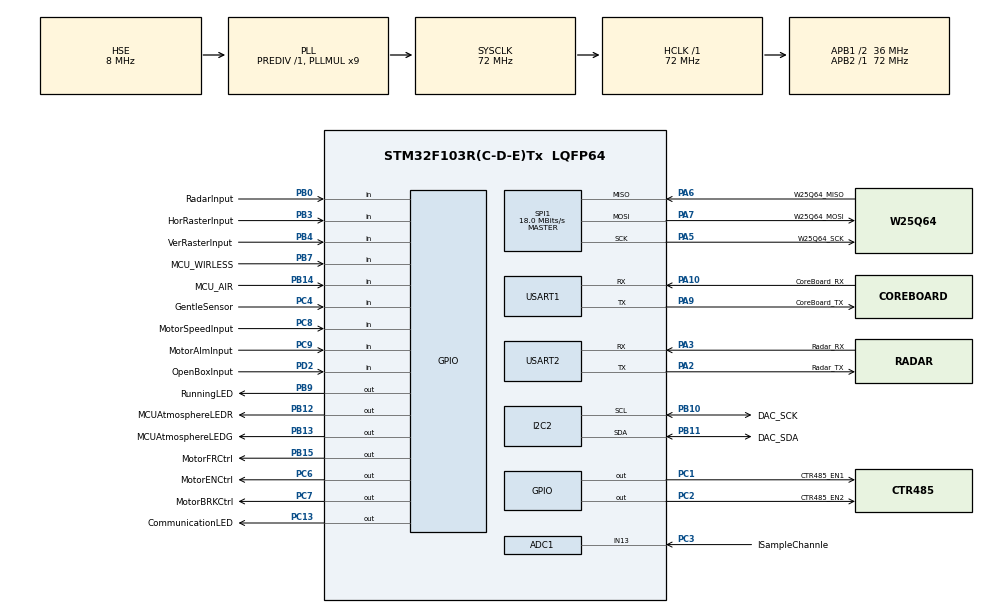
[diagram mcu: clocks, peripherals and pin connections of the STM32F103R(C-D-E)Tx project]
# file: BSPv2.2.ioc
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ADC1.Channel-0\#ChannelRegularConversion=ADC_CHANNEL_13
ADC1.Channel-1\#ChannelRegularConversion=ADC_CHANNEL_13
ADC1.ContinuousConvMode=ENABLE
ADC1.DataAlign=ADC_DATAALIGN_RIGHT
ADC1.DiscontinuousConvMode=DISABLE
ADC1.EnableAnalogWatchDog=false
ADC1.EnableRegularConversion=ENABLE
ADC1.ExternalTrigConv=ADC_SOFTWARE_START
ADC1.InjNumberOfConversion=0
ADC1.NbrOfConversion=2
ADC1.NbrOfConversionFlag=1
ADC1.Rank-0\#ChannelRegularConversion=1
ADC1.Rank-1\#ChannelRegularConversion=2
ADC1.SamplingTime-0\#ChannelRegularConversion=ADC_SAMPLETIME_239CYCLES_5
ADC1.SamplingTime-1\#ChannelRegularConversion=ADC_SAMPLETIME_239CYCLES_5
ADC1.ScanConvMode=ADC_SCAN_ENABLE
ADC1.master=1
Dma.ADC1.2.Direction=DMA_PERIPH_TO_MEMORY
Dma.ADC1.2.Instance=DMA1_Channel1
Dma.ADC1.2.MemDataAlignment=DMA_MDATAALIGN_WORD
Dma.ADC1.2.MemInc=DMA_MINC_ENABLE
Dma.ADC1.2.Mode=DMA_CIRCULAR
Dma.ADC1.2.PeriphDataAlignment=DMA_PDATAALIGN_WORD
Dma.ADC1.2.PeriphInc=DMA_PINC_DISABLE
Dma.ADC1.2.Priority=DMA_PRIORITY_LOW
Dma.Request0=USART1_RX
Dma.Request1=USART2_RX
Dma.Request2=ADC1
Dma.USART1_RX.0.Direction=DMA_PERIPH_TO_MEMORY
Dma.USART1_RX.0.Instance=DMA1_Channel5
Dma.USART1_RX.0.MemDataAlignment=DMA_MDATAALIGN_BYTE
Dma.USART1_RX.0.MemInc=DMA_MINC_ENABLE
Dma.USART1_RX.0.Mode=DMA_NORMAL
Dma.USART1_RX.0.PeriphDataAlignment=DMA_PDATAALIGN_BYTE
Dma.USART1_RX.0.PeriphInc=DMA_PINC_DISABLE
Dma.USART1_RX.0.Priority=DMA_PRIORITY_LOW
Dma.USART2_RX.1.Direction=DMA_PERIPH_TO_MEMORY
Dma.USART2_RX.1.Instance=DMA1_Channel6
Dma.USART2_RX.1.MemDataAlignment=DMA_MDATAALIGN_BYTE
Dma.USART2_RX.1.MemInc=DMA_MINC_ENABLE
Dma.USART2_RX.1.Mode=DMA_NORMAL
Dma.USART2_RX.1.PeriphDataAlignment=DMA_PDATAALIGN_BYTE
Dma.USART2_RX.1.PeriphInc=DMA_PINC_DISABLE
Dma.USART2_RX.1.Priority=DMA_PRIORITY_LOW
Mcu.Family=STM32F1
Mcu.Name=STM32F103R(C-D-E)Tx
Mcu.Package=LQFP64
NVIC.ADC1_2_IRQn=true\:0\:0\:false\:true\:true\:1\:true
NVIC.DMA1_Channel1_IRQn=true\:0\:0\:false\:true\:true\:7\:false
NVIC.DMA1_Channel5_IRQn=true\:0\:0\:false\:true\:true\:8\:false
NVIC.DMA1_Channel6_IRQn=true\:0\:0\:false\:true\:true\:9\:false
NVIC.I2C2_ER_IRQn=true\:0\:0\:false\:true\:true\:11\:true
NVIC.I2C2_EV_IRQn=true\:0\:0\:false\:true\:true\:10\:true
NVIC.PriorityGroup=NVIC_PRIORITYGROUP_4
NVIC.TIM3_IRQn=true\:0\:0\:false\:true\:true\:3\:true
NVIC.TIM4_IRQn=true\:0\:0\:false\:true\:true\:4\:true
NVIC.TIM5_IRQn=true\:0\:0\:false\:true\:true\:5\:true
NVIC.TIM6_IRQn=true\:0\:0\:false\:true\:true\:6\:true
NVIC.USART1_IRQn=true\:0\:0\:false\:true\:true\:2\:true
NVIC.USART2_IRQn=true\:0\:0\:false\:true\:true\:12\:true
PA10.GPIO_Label=CoreBoard_RX
PA10.Mode=Asynchronous
PA10.Signal=USART1_RX
PA13.Mode=Serial_Wire
PA13.Signal=SYS_JTMS-SWDIO
PA14.Mode=Serial_Wire
PA14.Signal=SYS_JTCK-SWCLK
PA2.GPIO_Label=Radar_TX
PA2.Mode=Asynchronous
PA2.Signal=USART2_TX
PA3.GPIO_Label=Radar_RX
PA3.Mode=Asynchronous
PA3.Signal=USART2_RX
PA5.GPIO_Label=W25Q64_SCK
PA5.Mode=Full_Duplex_Master
PA5.Signal=SPI1_SCK
PA6.GPIO_Label=W25Q64_MISO
PA6.Mode=Full_Duplex_Master
PA6.Signal=SPI1_MISO
PA7.GPIO_Label=W25Q64_MOSI
PA7.Mode=Full_Duplex_Master
PA7.Signal=SPI1_MOSI
PA9.GPIO_Label=CoreBoard_TX
PA9.Mode=Asynchronous
PA9.Signal=USART1_TX
PB0.GPIO_Label=RadarInput
PB0.GPIO_PuPd=GPIO_PULLUP
PB0.Signal=GPIO_Input
PB10.GPIO_Label=DAC_SCK
PB10.Mode=I2C
PB10.Signal=I2C2_SCL
PB11.GPIO_Label=DAC_SDA
PB11.Mode=I2C
PB11.Signal=I2C2_SDA
PB12.GPIO_Label=MCUAtmosphereLEDR
PB12.Signal=GPIO_Output
PB13.GPIO_Label=MCUAtmosphereLEDG
PB13.Signal=GPIO_Output
PB14.GPIO_Label=MCU_AIR
PB14.GPIO_PuPd=GPIO_PULLUP
PB14.Signal=GPIO_Input
PB15.GPIO_Label=MotorFRCtrl
PB15.Signal=GPIO_Output
PB3.GPIO_Label=HorRasterInput
PB3.GPIO_PuPd=GPIO_PULLUP
PB3.Signal=GPIO_Input
PB4.GPIO_Label=VerRasterInput
PB4.GPIO_PuPd=GPIO_PULLUP
PB4.Signal=GPIO_Input
PB7.GPIO_Label=MCU_WIRLESS
PB7.GPIO_PuPd=GPIO_PULLUP
PB7.Signal=GPIO_Input
PB9.GPIO_Label=RunningLED
PB9.Signal=GPIO_Output
PC1.GPIO_Label=CTR485_EN1
PC1.Signal=GPIO_Output
PC13-TAMPER-RTC.GPIO_Label=CommunicationLED
PC13-TAMPER-RTC.Signal=GPIO_Output
PC2.GPIO_Label=CTR485_EN2
PC2.Signal=GPIO_Output
PC3.GPIO_Label=ISampleChannle
PC3.Signal=ADCx_IN13
PC4.GPIO_Label=GentleSensor
PC4.GPIO_PuPd=GPIO_PULLUP
PC4.Signal=GPIO_Input
PC6.GPIO_Label=MotorENCtrl
PC6.Signal=GPIO_Output
PC7.GPIO_Label=MotorBRKCtrl
PC7.Signal=GPIO_Output
PC8.GPIO_Label=MotorSpeedInput
PC8.GPIO_PuPd=GPIO_PULLUP
PC8.Signal=GPIO_Input
PC9.GPIO_Label=MotorAlmInput
PC9.GPIO_PuPd=GPIO_PULLUP
PC9.Signal=GPIO_Input
PD0-OSC_IN.Mode=HSE-External-Oscillator
PD0-OSC_IN.Signal=RCC_OSC_IN
PD1-OSC_OUT.Mode=HSE-External-Oscillator
PD1-OSC_OUT.Signal=RCC_OSC_OUT
PD2.GPIO_Label=OpenBoxInput
PD2.GPIO_PuPd=GPIO_PULLUP
PD2.Signal=GPIO_Input
ProjectManager.HeapSize=0x200
ProjectManager.StackSize=0x400
ProjectManager.TargetToolchain=EWARM
RCC.ADCPresc=RCC_ADCPCLK2_DIV6
RCC.AHBFreq_Value=72000000
RCC.APB1CLKDivider=RCC_HCLK_DIV2
RCC.APB1Freq_Value=36000000
RCC.APB1TimFreq_Value=72000000
RCC.APB2Freq_Value=72000000
RCC.APB2TimFreq_Value=72000000
RCC.HCLKFreq_Value=72000000
RCC.PLLMUL=RCC_PLL_MUL9
RCC.PLLSourceVirtual=RCC_PLLSOURCE_HSE
RCC.SYSCLKFreq_VALUE=72000000
RCC.SYSCLKSource=RCC_SYSCLKSOURCE_PLLCLK
RCC.USBFreq_Value=72000000
SH.ADCx_IN13.0=ADC1_IN13,IN13
SPI1.BaudRatePrescaler=SPI_BAUDRATEPRESCALER_4
SPI1.CalculateBaudRate=18.0 MBits/s
SPI1.DataSize=SPI_DATASIZE_16BIT
SPI1.Direction=SPI_DIRECTION_2LINES
SPI1.Mode=SPI_MODE_MASTER
SPI1.VirtualType=VM_MASTER
TIM3.Period=50-1
TIM3.Prescaler=72-1
TIM4.Period=1000-1
TIM4.Prescaler=72-1
TIM5.Period=200-1
TIM5.Prescaler=7200-1
TIM6.Period=1000-1
TIM6.Prescaler=720-1
USART1.VirtualMode=VM_ASYNC
USART2.VirtualMode=VM_ASYNC
VP_ADC1_TempSens_Input.Mode=IN-TempSens
VP_TIM3_VS_ClockSourceINT.Mode=Internal
VP_TIM4_VS_ClockSourceINT.Mode=Internal
VP_TIM5_VS_ClockSourceINT.Mode=Internal
VP_TIM6_VS_ClockSourceINT.Mode=Enable_Timer
board=BSPv2.2

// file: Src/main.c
/**
  ******************************************************************************
  * @file           : main.c
  * @brief          : Main program body
  ******************************************************************************
  ** This notice applies to any and all portions of this file
  * that are not between comment pairs USER CODE BEGIN and
  * USER CODE END. Other portions of this file, whether
  * inserted by the user or by software development tools
  * are owned by their respective copyright owners.
  *
  * COPYRIGHT(c) 2018 STMicroelectronics
  *
  * Redistribution and use in source and binary forms, with or without modification,
  * are permitted provided that the following conditions are met:
  *   1. Redistributions of source code must retain the above copyright notice,
  *      this list of conditions and the following disclaimer.
  *   2. Redistributions in binary form must reproduce the above copyright notice,
  *      this list of conditions and the following disclaimer in the documentation
  *      and/or other materials provided with the distribution.
  *   3. Neither the name of STMicroelectronics nor the names of its contributors
  *      may be used to endorse or promote products derived from this software
  *      without specific prior written permission.
  *
  * THIS SOFTWARE IS PROVIDED BY THE COPYRIGHT HOLDERS AND CONTRIBUTORS "AS IS"
  * AND ANY EXPRESS OR IMPLIED WARRANTIES, INCLUDING, BUT NOT LIMITED TO, THE
  * IMPLIED WARRANTIES OF MERCHANTABILITY AND FITNESS FOR A PARTICULAR PURPOSE ARE
  * DISCLAIMED. IN NO EVENT SHALL THE COPYRIGHT HOLDER OR CONTRIBUTORS BE LIABLE
  * FOR ANY DIRECT, INDIRECT, INCIDENTAL, SPECIAL, EXEMPLARY, OR CONSEQUENTIAL
  * DAMAGES (INCLUDING, BUT NOT LIMITED TO, PROCUREMENT OF SUBSTITUTE GOODS OR
  * SERVICES; LOSS OF USE, DATA, OR PROFITS; OR BUSINESS INTERRUPTION) HOWEVER
  * CAUSED AND ON ANY THEORY OF LIABILITY, WHETHER IN CONTRACT, STRICT LIABILITY,
  * OR TORT (INCLUDING NEGLIGENCE OR OTHERWISE) ARISING IN ANY WAY OUT OF THE USE
  * OF THIS SOFTWARE, EVEN IF ADVISED OF THE POSSIBILITY OF SUCH DAMAGE.
  *
  ******************************************************************************
  */
#include "main.h"
#include "stm32f1xx_hal.h"
#include "adc.h"
#include "dma.h"
#include "i2c.h"
#include "spi.h"
#include "tim.h"
#include "usart.h"
#include "gpio.h"

/* USER CODE BEGIN Includes */
#include "stdlib.h"
#include "stdio.h"
#include "bsp_common.h"
#include "bsp_DataTransmissionLayer.h"
#include "bsp_ProtocolLayer.h"
#include "bsp_digitalfloodcontrol.h"
#include "bsp_motor.h"
#include "bsp_log.h"
#include "bsp_wrieless.h"

#define REDLED_ON       HAL_GPIO_WritePin(MCUAtmosphereLEDR_GPIO_Port,MCUAtmosphereLEDR_Pin,MCUAtmosphereLEDR_ON)
#define REDLED_OFF		HAL_GPIO_WritePin(MCUAtmosphereLEDR_GPIO_Port,MCUAtmosphereLEDR_Pin,MCUAtmosphereLEDR_OFF)
#define REDLED_TOGGLE   HAL_GPIO_TogglePin(MCUAtmosphereLEDR_GPIO_Port,MCUAtmosphereLEDR_Pin)

#define GREENLED_ON		HAL_GPIO_WritePin(MCUAtmosphereLEDG_GPIO_Port,MCUAtmosphereLEDG_Pin,MCUAtmosphereLEDG_ON)
#define GREENLED_OFF	HAL_GPIO_WritePin(MCUAtmosphereLEDG_GPIO_Port,MCUAtmosphereLEDG_Pin,MCUAtmosphereLEDG_OFF)
#define GREENLED_TOGGLE	HAL_GPIO_TogglePin(MCUAtmosphereLEDG_GPIO_Port,MCUAtmosphereLEDG_Pin)

/* USER CODE END Includes */

/* USER CODE BEGIN PV */
/* Private variables ---------------------------------------------------------*/
extern volatile uint16_t       TiggerTimeCnt;
extern  uint16_t       TiggerTimeSum;

extern  uint16_t       Vnormalt;
extern  uint16_t       Vthreshold;
extern  uint16_t       Vbase;          //基础电流值
extern  uint16_t       Vdelta;

extern volatile uint16_t      VbaseBuffer[128];
extern uint16_t      Vnormal;
extern volatile uint16_t      VbaseCnt;
extern volatile uint8_t       VbaseUpdataflag;
extern volatile uint8_t       SettingVbaseValeFlag;
extern volatile uint8_t 	  gDigitalFoodFlag;

extern uint16_t SpeedDataBufferPtr;
extern uint8_t  SpeedDataBufferOne[300];

MOTORMACHINE gMotorMachine;

//volatile uint16_t ADCSampleBuffer[512];
uint32_t ADCBuffer[32];

volatile uint8_t  gLogTimerFlag;
volatile uint32_t gLogTimerCnt;

volatile uint8_t  gOpenBarTimeoutFlag;
volatile uint8_t  gOpenBarTimerFlag;
volatile uint32_t gOpenBarTimerCnt;

volatile uint8_t gOpenSpeedTimerFlag;
volatile uint8_t gOpenSpeedTimerCnt;

volatile uint8_t gBarFirstArriveOpenedPosinFlag;
volatile uint8_t gBarFirstArriveClosedPosionFlag;

volatile uint8_t gOpenFlag;
volatile uint8_t gObstructFlag;

volatile uint8_t gHorCloseFlag;

volatile uint8_t gCarEnteredFlag;
GPIOSTRUCT gGentleSensorGpio;
GPIOSTRUCT gAirSensorGpio;

GPIOSTRUCT gHorGpio;
GPIOSTRUCT gVerGpio;

GPIOSTRUCT gWirelessGpio;

uint8_t gLedTimerFlag;
uint8_t checkWrielessFlag;

static uint32_t Vadcdata;

/* USER CODE END PV */

void SystemClock_Config(void);
static void MX_NVIC_Init(void);

/* USER CODE BEGIN PFP */
/* Private function prototypes -----------------------------------------------*/
void bsp_GpioStructInit(void);
void bsp_SendCarEnterFlag(void);
void bsp_SendCarEnterTimeroutFlag(void);
void bsp_ADCCheck(void);
/* USER CODE END PFP */

int main(void)
{

  /* MCU Configuration----------------------------------------------------------*/

  /* Reset of all peripherals, Initializes the Flash interface and the Systick. */
  HAL_Init();

  /* Configure the system clock */
  SystemClock_Config();

  /* Initialize all configured peripherals */
  MX_GPIO_Init();
  MX_DMA_Init();
  MX_TIM4_Init();
  MX_USART1_UART_Init();
  MX_USART2_UART_Init();
  MX_I2C2_Init();
  MX_SPI1_Init();
  MX_ADC1_Init();
  MX_TIM5_Init();
  MX_TIM6_Init();
  MX_TIM3_Init();

  /* Initialize interrupts */
  MX_NVIC_Init();
  /* USER CODE BEGIN 2 */
  BSP_MotorInit();
  bsp_GpioStructInit();
  DigitalfloodInit();

  BSP_DriverBoardProtocolInit();
  //HAL_ADC_Start_DMA(&hadc1, (uint32_t*)&ADCBuffer, 256);
  //HAL_ADC_Stop_DMA(&hadc1);
  BSP_WirelessInit(3);
  HAL_TIM_Base_Start_IT(&htim3);
  HAL_TIM_Base_Start_IT(&htim5);

  /* USER CODE END 2 */

  /* Infinite loop */
  while (1)
  {

  /* USER CODE BEGIN 3 */
    /*bsp_ADCCheck();
    HAL_Delay(10);
    */

  BSP_HandingUartDataFromDriverBoard();
  BSP_HandingDriverBoardRequest();
  BSP_SendAckData();

  /* 氛围灯控制 */
  if(1 == gLedTimerFlag)
  {
	gLedTimerFlag = 0;
	if(0 == gOpenFlag)
	{
		REDLED_ON;
		GREENLED_OFF;
	}
	if(2 == gOpenFlag)
	{
		REDLED_OFF;
		GREENLED_TOGGLE;
	}
	if(3 == gOpenFlag)
	{
		REDLED_OFF;
		GREENLED_ON;
	}
	if(5 == gOpenFlag)
	{
		REDLED_TOGGLE;
		GREENLED_OFF;
	}
  }

  /* 发送日志信息 */
  if(1 == gLogTimerFlag)
  {
	gLogTimerFlag = 0;
    bsp_LogWriteUpdataFlag();
#ifdef __Debug__
    //BSP_SendDataToDriverBoard((uint8_t*)"\r\n Timelog \r\n",13,0xFFFF);
#endif
  }

  bsp_LogCheckUpdata();

  /* 检测车辆是否入场或者出场信息 */
  if(1 == gCarEnteredFlag)
  {
	if(3 == gOpenFlag)
	{
		gCarEnteredFlag = 0;
		gOpenBarTimeoutFlag = 0;
		gOpenBarTimerCnt = 0;
		gOpenBarTimerFlag = 0;
		gOpenFlag = 4;
		/* 发送车辆入场或者出场信息 */
		bsp_SendCarEnterFlag();
	}
  }

  if(1 == gBarFirstArriveOpenedPosinFlag)
  {
    gBarFirstArriveOpenedPosinFlag = 0;
	if(2 == gOpenFlag)
	{
		gOpenFlag = 3;
		VbaseCnt = 0;
		TiggerTimeCnt = 0;
	}
	SpeedDataBufferPtr = 0;
#ifdef __Debug__
	//BSP_SendDataToDriverBoard((uint8_t*)"\r\n gBarFirstArriveOpenedPosinFlag \r\n",35,0xFFFF);
#endif
  }

  if(1 == gBarFirstArriveClosedPosionFlag)
  {
	gBarFirstArriveClosedPosionFlag = 0;
	/* 清空遥控开闸标记位 */
	gWrielessModeFlag = 0;
	if(2 == gOpenBarTimeoutFlag)
	{
		gOpenBarTimeoutFlag = 0;
		/* 发送车辆入场或者出场超时信息 */
		bsp_SendCarEnterTimeroutFlag();
	}
	/* 更新Vbase的数据值 */
	UpdateVbaseValue();
	SpeedDataBufferPtr = 0;
#ifdef	__Debug__
	//BSP_SendDataToDriverBoard((uint8_t*)"\r\n gBarFirstArriveClosedPosionFlag\r\n",35, 0xFFFF);
#endif
  }

  if(1 == checkWrielessFlag)
  {
	BSP_WirelessCheck();

	checkWrielessFlag = 0;
  }

  if(1 == gWrielessModeFlag)
  {
	BSP_WirelessAction();
  }
  else
  {
  	BSP_MotorCheck();
  	BSP_MotorAction();

  	if(1 == gOpenSpeedTimerFlag && 2 == gOpenFlag)
  	{
      	gOpenSpeedTimerFlag = 0;

	  	/* 添加调速代码 */
	  	BSP_MotorSpeedSet(SpeedDataBufferOne[SpeedDataBufferPtr]);

#ifdef __Debug__
	  	BSP_SendByteToDriverBoard(SpeedDataBufferOne[SpeedDataBufferPtr],0xFFFF);
#endif

	  	SpeedDataBufferPtr++;
	  	if(SpeedDataBufferPtr > 299)
	 	 {
			SpeedDataBufferPtr = 299;
		  }
  	}
  }

  }
  /* USER CODE END 3 */

}

void SystemClock_Config(void)
{

  RCC_OscInitTypeDef RCC_OscInitStruct;
  RCC_ClkInitTypeDef RCC_ClkInitStruct;
  RCC_PeriphCLKInitTypeDef PeriphClkInit;

    /**Initializes the CPU, AHB and APB busses clocks
    */
  RCC_OscInitStruct.OscillatorType = RCC_OSCILLATORTYPE_HSE;
  RCC_OscInitStruct.HSEState = RCC_HSE_ON;
  RCC_OscInitStruct.HSEPredivValue = RCC_HSE_PREDIV_DIV1;
  RCC_OscInitStruct.HSIState = RCC_HSI_ON;
  RCC_OscInitStruct.PLL.PLLState = RCC_PLL_ON;
  RCC_OscInitStruct.PLL.PLLSource = RCC_PLLSOURCE_HSE;
  RCC_OscInitStruct.PLL.PLLMUL = RCC_PLL_MUL9;
  if (HAL_RCC_OscConfig(&RCC_OscInitStruct) != HAL_OK)
  {
    _Error_Handler(__FILE__, __LINE__);
  }

    /**Initializes the CPU, AHB and APB busses clocks
    */
  RCC_ClkInitStruct.ClockType = RCC_CLOCKTYPE_HCLK|RCC_CLOCKTYPE_SYSCLK
                              |RCC_CLOCKTYPE_PCLK1|RCC_CLOCKTYPE_PCLK2;
  RCC_ClkInitStruct.SYSCLKSource = RCC_SYSCLKSOURCE_PLLCLK;
  RCC_ClkInitStruct.AHBCLKDivider = RCC_SYSCLK_DIV1;
  RCC_ClkInitStruct.APB1CLKDivider = RCC_HCLK_DIV2;
  RCC_ClkInitStruct.APB2CLKDivider = RCC_HCLK_DIV1;

  if (HAL_RCC_ClockConfig(&RCC_ClkInitStruct, FLASH_LATENCY_2) != HAL_OK)
  {
    _Error_Handler(__FILE__, __LINE__);
  }

  PeriphClkInit.PeriphClockSelection = RCC_PERIPHCLK_ADC;
  PeriphClkInit.AdcClockSelection = RCC_ADCPCLK2_DIV6;
  if (HAL_RCCEx_PeriphCLKConfig(&PeriphClkInit) != HAL_OK)
  {
    _Error_Handler(__FILE__, __LINE__);
  }

    /**Configure the Systick interrupt time
    */
  HAL_SYSTICK_Config(HAL_RCC_GetHCLKFreq()/1000);

    /**Configure the Systick
    */
  HAL_SYSTICK_CLKSourceConfig(SYSTICK_CLKSOURCE_HCLK);

  /* SysTick_IRQn interrupt configuration */
  HAL_NVIC_SetPriority(SysTick_IRQn, 0, 0);
}

/**
  * @brief NVIC Configuration.
  * @retval None
  */
static void MX_NVIC_Init(void)
{
  /* ADC1_2_IRQn interrupt configuration */
  HAL_NVIC_SetPriority(ADC1_2_IRQn, 0, 0);
  HAL_NVIC_EnableIRQ(ADC1_2_IRQn);
  /* USART1_IRQn interrupt configuration */
  HAL_NVIC_SetPriority(USART1_IRQn, 0, 0);
  HAL_NVIC_EnableIRQ(USART1_IRQn);
  /* TIM3_IRQn interrupt configuration */
  HAL_NVIC_SetPriority(TIM3_IRQn, 0, 0);
  HAL_NVIC_EnableIRQ(TIM3_IRQn);
  /* TIM4_IRQn interrupt configuration */
  HAL_NVIC_SetPriority(TIM4_IRQn, 0, 0);
  HAL_NVIC_EnableIRQ(TIM4_IRQn);
  /* TIM5_IRQn interrupt configuration */
  HAL_NVIC_SetPriority(TIM5_IRQn, 0, 0);
  HAL_NVIC_EnableIRQ(TIM5_IRQn);
  /* TIM6_IRQn interrupt configuration */
  HAL_NVIC_SetPriority(TIM6_IRQn, 0, 0);
  HAL_NVIC_EnableIRQ(TIM6_IRQn);
  /* DMA1_Channel1_IRQn interrupt configuration */
  HAL_NVIC_SetPriority(DMA1_Channel1_IRQn, 0, 0);
  HAL_NVIC_EnableIRQ(DMA1_Channel1_IRQn);
  /* DMA1_Channel5_IRQn interrupt configuration */
  HAL_NVIC_SetPriority(DMA1_Channel5_IRQn, 0, 0);
  HAL_NVIC_EnableIRQ(DMA1_Channel5_IRQn);
  /* DMA1_Channel6_IRQn interrupt configuration */
  HAL_NVIC_SetPriority(DMA1_Channel6_IRQn, 0, 0);
  HAL_NVIC_EnableIRQ(DMA1_Channel6_IRQn);
  /* I2C2_EV_IRQn interrupt configuration */
  HAL_NVIC_SetPriority(I2C2_EV_IRQn, 0, 0);
  HAL_NVIC_EnableIRQ(I2C2_EV_IRQn);
  /* I2C2_ER_IRQn interrupt configuration */
  HAL_NVIC_SetPriority(I2C2_ER_IRQn, 0, 0);
  HAL_NVIC_EnableIRQ(I2C2_ER_IRQn);
  /* USART2_IRQn interrupt configuration */
  HAL_NVIC_SetPriority(USART2_IRQn, 0, 0);
  HAL_NVIC_EnableIRQ(USART2_IRQn);
}

/* USER CODE BEGIN 4 */
void HAL_TIM_PeriodElapsedCallback(TIM_HandleTypeDef * htim)
{
	UNUSED(htim);
        /* 常开的定时器中断，50us进入一次，对光栅状态进行检测 */
	if(htim3.Instance == htim->Instance)
	{
	  gHorGpio.CurrentReadVal = HAL_GPIO_ReadPin(HorRasterInput_GPIO_Port,HorRasterInput_Pin);
	  if(0 == gHorGpio.CurrentReadVal && 0 == gHorGpio.LastReadVal)
	  {
		gHorGpio.FilterCnt++;
		if(gHorGpio.FilterCnt > gHorGpio.FilterCntSum)
		{
		  gMotorMachine.HorizontalRasterState = 1;
		  gHorGpio.GpioState = 1;
		  gHorGpio.FilterCnt = 0;
		  if(DOWNDIR == gMotorMachine.RunDir)
		  {
			HAL_TIM_Base_Stop_IT(&htim6);//停止定时器中断
            HAL_ADC_Stop_DMA(&hadc1);
			BSP_MotorStop(); //停止电机转动
            HAL_TIM_Base_Stop_IT(&htim4);
			gOpenFlag = 0;
			gMotorMachine.RunDir = UPDIR;//修改方向标记位
			gMotorMachine.RunningState = 0;//修改运行状态
			gBarFirstArriveClosedPosionFlag = 1;//
            gLogInfo.uLogInfo.GateWay = 0;

            if(0 == gWrielessModeFlag)
            {
			if(SettingVbaseValeFlag)
			{
			  gHorCloseFlag++;
			  if(gHorCloseFlag > 2)
			  {
				gHorCloseFlag = 0;
				SettingVbaseValeFlag = 0;
			  }
			}
            }
		  }
		}
	  }
	  else
	  {
		gMotorMachine.HorizontalRasterState = 0;
		gHorGpio.GpioState = 0;
		gHorGpio.FilterCnt = 0;
	  }

	  gHorGpio.LastReadVal = gHorGpio.CurrentReadVal;

      gVerGpio.CurrentReadVal = HAL_GPIO_ReadPin(VerRasterInput_GPIO_Port,VerRasterInput_Pin);
	  if(0 == gVerGpio.CurrentReadVal && 0 == gVerGpio.LastReadVal)
	  {
		gVerGpio.FilterCnt++;
		if(gVerGpio.FilterCnt > gVerGpio.FilterCntSum)
		{
		  gVerGpio.GpioState = 1;
		  gVerGpio.FilterCnt = 0;
		  gMotorMachine.VerticalRasterState = 1;
		  if(UPDIR == gMotorMachine.RunDir)
		  {
			BSP_MotorStop();
            gWrielessActionFlag = 0;
			gMotorMachine.RunDir = DOWNDIR;//修改方向标记位
			gMotorMachine.RunningState = 0;//改变运行状态标记位
			gOpenBarTimerFlag = 1;
			gBarFirstArriveOpenedPosinFlag = 1;
		  }
          if(0 == gWrielessModeFlag)
          {
		  if(1 == gMotorMachine.StartFlag)	//如果初始位置在垂直位置，此可以进行自动复位
		  {
			BSP_MotorStop();
            gMotorMachine.StartFlag = 0;
			gOpenBarTimerFlag = 1;
			gOpenFlag = 3;	//表示处在垂直位置
			VbaseCnt = 0;   //归零计数
			TiggerTimeCnt = 0;//
		  }
          if(1 == gOpenBarTimeoutFlag)
          {
            gOpenFlag = 4;
            gOpenBarTimeoutFlag = 2;
          }
          }
		}
	  }
	  else
	  {
		gMotorMachine.VerticalRasterState = 0;
		gVerGpio.GpioState = 0;
		gVerGpio.FilterCnt = 0;
	  }
	  gVerGpio.LastReadVal = gVerGpio.CurrentReadVal;
	  return;
	}

   	/* 非常开的定时器中断，该中断在接收到开闸指令后才打开，用来检测地感和
	压力波传感器信号，在检测到杆到达水平位置之后就直接关闭该中断，该中断每1ms
	进入一次，开闸的调速也将在改中断中完成*/
	if(htim4.Instance == htim->Instance)
	{
	  /* 调速 */
	  gOpenSpeedTimerCnt ++;
	  if(gOpenSpeedTimerCnt > 4)    //5ms进入一次调速中断
	  {
		gOpenSpeedTimerFlag = 1;
		gOpenSpeedTimerCnt = 0;
	  }
		/* 地感检测，起到防砸和判断车辆是否进入的作用 */
	  gGentleSensorGpio.CurrentReadVal = HAL_GPIO_ReadPin(GentleSensor_GPIO_Port,GentleSensor_Pin);
	  if(0 == gGentleSensorGpio.CurrentReadVal && 0 == gGentleSensorGpio.LastReadVal)
	  {
		if(0 == gGentleSensorGpio.GpioState)
		{
		  gGentleSensorGpio.FilterCnt++;
		  if(gGentleSensorGpio.FilterCnt > gGentleSensorGpio.FilterCntSum)
		  {
			gGentleSensorGpio.GpioState = 1;
			gGentleSensorGpio.FilterCnt = 0;
			/* 添加日志文档       */
			gLogInfo.uLogInfo.GentleSensorState = 1;
			bsp_LogWriteUpdataFlag();

		  }
		}
	  }
	  else
	  {
		if(gGentleSensorGpio.GpioState)
		{
		  gCarEnteredFlag = 1;
		  /* 添加日志文档 */
		  gLogInfo.uLogInfo.GentleSensorState = 0;
		  bsp_LogWriteUpdataFlag();
		}
		gGentleSensorGpio.GpioState = 0;
		gGentleSensorGpio.FilterCnt = 0;
		gGentleSensorGpio.LastReadVal = gGentleSensorGpio.CurrentReadVal;
		/* 空气波检测 */

		gAirSensorGpio.CurrentReadVal = HAL_GPIO_ReadPin(MCU_AIR_GPIO_Port,MCU_AIR_Pin);
		if(0 == gAirSensorGpio.CurrentReadVal && 0 == gAirSensorGpio.LastReadVal)
		{
			if(0 == gAirSensorGpio.GpioState)
			{
				gAirSensorGpio.FilterCnt++;
				if(gAirSensorGpio.FilterCnt > gAirSensorGpio.FilterCntSum)
				{
					gAirSensorGpio.GpioState = 1;
					gAirSensorGpio.FilterCnt = 0;
					/* 写日志信息 */
					gLogInfo.uLogInfo.AirSensorState = 1;
					bsp_LogWriteUpdataFlag();
				}
			}
		}
		else
		{
			if(1 == gAirSensorGpio.GpioState)
			{
				gAirSensorGpio.GpioState = 0;
				/* 写日志信息 */
				gLogInfo.uLogInfo.AirSensorState = 0;
				bsp_LogWriteUpdataFlag();
			}
			gAirSensorGpio.FilterCnt = 0;
		}
	  }
	  return;
	}

    /* 常开中断，每20ms进入一次，用以对log日志进行上报，系统自检等功能，同时
    也来兼顾来车控灯的作用 */
	if(htim5.Instance == htim->Instance)
	{
	  checkWrielessFlag = 1;
	  if(0 == (gLogTimerCnt % 10 ))
	  {
	  	gLedTimerFlag = 1;
	  }
	  gLogTimerCnt++;
	  if(gLogTimerCnt > 999)
	  {
		gLogTimerFlag = 1;
		gLogTimerCnt = 0;
	  }
	  if(1 == gOpenBarTimerFlag)
	  {
		gOpenBarTimerCnt++;
		if(gOpenBarTimerCnt > 600)	//等待时间为6秒钟，超过6秒钟认为是超时
		{
		  gOpenBarTimeoutFlag = 1;
		  gOpenBarTimerCnt = 0;
		  gOpenBarTimerFlag = 0;
		}
	  }
	  return;
	}

    /* 此定时器中断只有关闸的时候才会起作用，开启中断后每10ms进入一次 */
	if(htim6.Instance == htim->Instance)
	{
	  bsp_ADCCheck();
	}
}

void bsp_SendCarEnterFlag(void)
{
	uint8_t pData[7];
	pData[0] = 0x5B;
	pData[1] = 0xE3;
	pData[3] = 0x00;
	pData[4] = 0x00;
	pData[6] = 0x5D;
	pData[2] = 0x00;
	pData[5] = 0xE3;
	BSP_SendDataToDriverBoard(pData,7,0xFFFF);
	return ;
}
void bsp_SendCarEnterTimeroutFlag(void)
{
	uint8_t pData[7];
	pData[0] = 0x5B;
	pData[1] = 0xE3;
	pData[3] = 0x00;
	pData[4] = 0x00;
	pData[6] = 0x5D;
	pData[2] = 0x01;
	pData[5] = 0xE2;
	BSP_SendDataToDriverBoard(pData,7,0xFFFF);
	return;
}
void bsp_GpioStructInit(void)
{
	gVerGpio.LastReadVal = 0;
	gVerGpio.FilterCnt = 0;
	gVerGpio.GpioState = 0;
	gVerGpio.FilterCntSum = 19;

	gHorGpio.LastReadVal = 0;
	gHorGpio.FilterCnt = 0;
	gHorGpio.GpioState = 0;
	gHorGpio.FilterCntSum = 19;

	gGentleSensorGpio.LastReadVal = 0;
	gGentleSensorGpio.FilterCnt = 0;
	gGentleSensorGpio.GpioState = 0;
	gGentleSensorGpio.FilterCntSum = 25;

	gAirSensorGpio.CurrentReadVal = 0;
	gAirSensorGpio.LastReadVal = 0;
	gAirSensorGpio.GpioState = 0;
	gAirSensorGpio.FilterCnt = 0;
	gAirSensorGpio.FilterCntSum = 10;

	gBarFirstArriveOpenedPosinFlag = 0;
	gBarFirstArriveClosedPosionFlag = 0;
}
void  bsp_ADCCheck()
{
   uint16_t i;
   //uint8_t VbaseValueBuffer[4];
   //char sBuffer[10];
   if(5!= gOpenFlag)
   {
      return;
   }

   for(i = 0,Vadcdata = 0; i < 32;i++)
   {
           Vadcdata += ADCBuffer[i];
	}
	Vnormal = (uint16_t)(Vadcdata >> 5);
    if(0 == SettingVbaseValeFlag)
    {
      if(Vnormal > Vbase)
      {
        Vdelta = Vnormal - Vbase;
      }
      else
      {
        Vdelta = Vbase - Vnormal;
      }
      if(Vdelta > Vthreshold)
      {
        TiggerTimeCnt++;
      }
      else
      {
        TiggerTimeCnt = 0;
      }
    }

    if(3 > TiggerTimeCnt)
    {
      if(VbaseCnt > 128) //如果采样超过128个点则丢弃
      {
        VbaseCnt = 0;
      }
      VbaseBuffer[VbaseCnt++] = Vnormal;
    }
    else
    {
      VbaseCnt = 0;
    }
#ifdef __Debug__
    //sprintf(sBuffer,"\r\nBB%4dBB\r\n",Vnormal);
//	VbaseValueBuffer[0] = 0xBB;
//	VbaseValueBuffer[1] = Vnormal >> 8;
//	VbaseValueBuffer[2] = Vnormal;
//	VbaseValueBuffer[3] = 0xBB;
//	BSP_SendDataToDriverBoard(VbaseValueBuffer,4,0xFFFF);
    //BSP_SendDataToDriverBoard((uint8_t*)sBuffer,sizeof(sBuffer),0xFFFF);
#endif
  Vnormal = 0;
}
/**
  * @brief  Conversion complete callback in non blocking mode
  * @param  hadc: ADC handle
  * @retval None
  */
void HAL_ADC_ConvCpltCallback(ADC_HandleTypeDef* hadc)
{
  /* Prevent unused argument(s) compilation warning */
  UNUSED(hadc);
  /* NOTE : This function should not be modified. When the callback is needed,
            function HAL_ADC_ConvCpltCallback must be implemented in the user file.
   */
	//bsp_ADCCheck();
}

/* USER CODE END 4 */

void _Error_Handler(char *file, int line)
{
  while(1)
  {
  }
}

/************************ (C) COPYRIGHT STMicroelectronics *****END OF FILE****/
